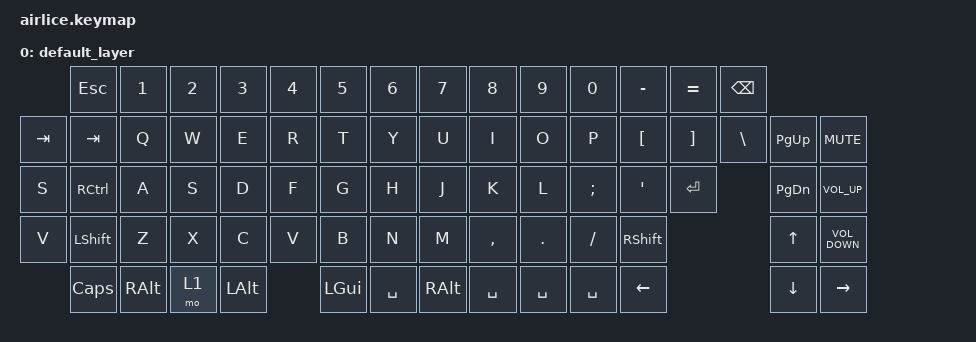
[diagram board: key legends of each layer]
/*
 * Copyright (c) 2020 The ZMK Contributors
 *
 * SPDX-License-Identifier: MIT
 */

#include <behaviors.dtsi>
#include <dt-bindings/zmk/keys.h>

/ {
    keymap {
        compatible = "zmk,keymap";

        default_layer {
            bindings = <
         &kp ESC    &kp N1    &kp N2  &kp N3    &kp N4  &kp N5    &kp N6  &kp N7     &kp N8    &kp N9     &kp N0     &kp MINUS  &kp EQUAL  &kp BSPC
&kp TAB  &kp TAB    &kp Q     &kp W   &kp E     &kp R   &kp T             &kp Y      &kp U     &kp I      &kp O      &kp P      &kp LBKT   &kp RBKT  &kp BSLH  &kp PAGE_UP    &kp K_MUTE
&kp S    &kp RCTRL  &kp A     &kp S   &kp D     &kp F   &kp G             &kp H      &kp J     &kp K      &kp L      &kp SEMI   &kp SQT    &kp RET             &kp PAGE_DOWN  &kp C_VOLUME_UP
&kp V    &kp LSHFT  &kp Z     &kp X   &kp C     &kp V   &kp B             &kp N      &kp M     &kp COMMA  &kp DOT    &kp FSLH   &kp RSHFT                      &kp UP         &kp C_VOLUME_DOWN
         &kp CAPS   &kp RALT  &mo 1   &kp LALT          &kp LGUI          &kp SPACE  &kp RALT  &kp SPACE  &kp SPACE  &kp SPACE  &kp LEFT                       &kp DOWN       &kp RIGHT
            >;
        };
    };
};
